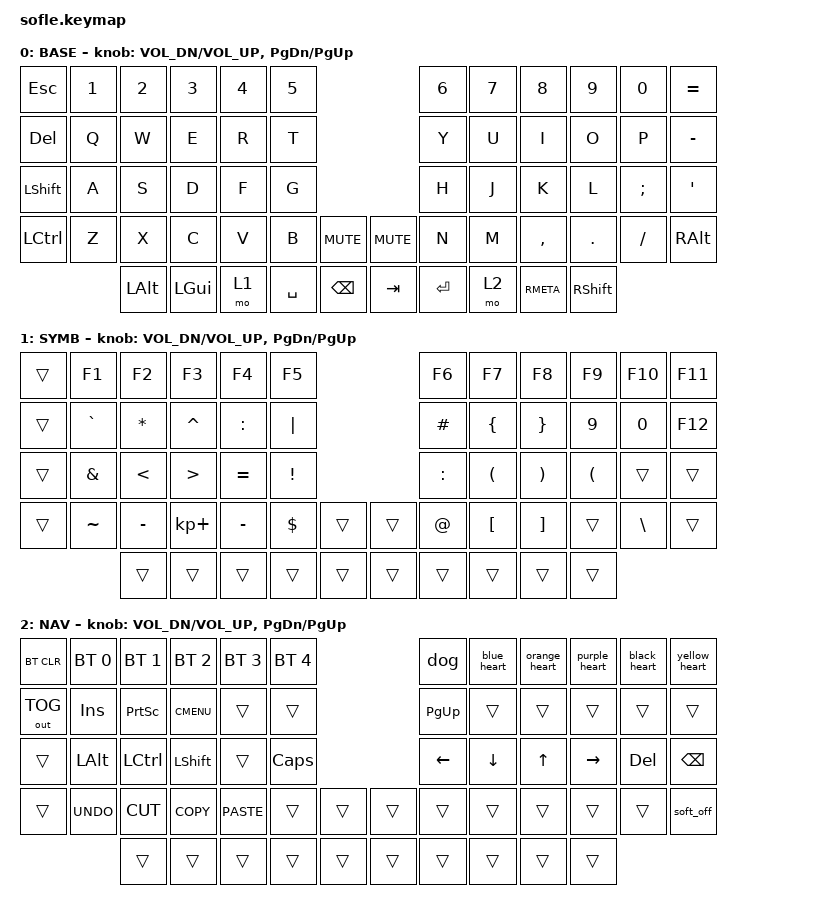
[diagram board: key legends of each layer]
/*
 * Copyright (c) 2020 The ZMK Contributors
 *
 * SPDX-License-Identifier: MIT
 */

#include <behaviors.dtsi>
#include <dt-bindings/zmk/bt.h>
#include <dt-bindings/zmk/keys.h>
#include <dt-bindings/zmk/outputs.h>

/ {
    macros {
        dog: dog {
            compatible = "zmk,behavior-macro";
            tap-ms = <20>;
            wait-ms = <20>;
            #binding-cells = <0>;
            bindings = <&macro_tap  &kp LC(LS(U)) &kp N1 &kp F &kp N4 &kp N3 &kp N6 &kp SPACE>;
            label = "dog";
        };

        orange_heart: orange_heart {
            compatible = "zmk,behavior-macro";
            tap-ms = <20>;
            wait-ms = <20>;
            #binding-cells = <0>;
            bindings = <&macro_tap  &kp LC(LS(U)) &kp N1 &kp F &kp N9 &kp E &kp N1 &kp SPACE >;
            label = "orange_heart";
        };

        black_heart: black_heart {
            compatible = "zmk,behavior-macro";
            tap-ms = <20>;
            wait-ms = <20>;
            #binding-cells = <0>;
            bindings = <&macro_tap  &kp LC(LS(U)) &kp N1 &kp F &kp N5 &kp A &kp N4 &kp SPACE >;
            label = "black_heart";
        };

        yellow_heart: yellow_heart {
            compatible = "zmk,behavior-macro";
            tap-ms = <20>;
            wait-ms = <20>;
            #binding-cells = <0>;
            bindings = <&macro_tap  &kp LC(LS(U)) &kp N1 &kp F &kp N4 &kp N9 &kp B &kp SPACE >;
            label = "yellow_heart";
        };

        purple_heart: purple_heart {
            compatible = "zmk,behavior-macro";
            wait-ms = <20>;
            tap-ms = <20>;
            #binding-cells = <0>;
            bindings = <&macro_tap  &kp LC(LS(U)) &kp N1 &kp F &kp N4 &kp N9 &kp C &kp SPACE >;
            label = "purple_heart";
        };

        blue_heart: blue_heart {
            compatible = "zmk,behavior-macro";
            tap-ms = <20>;
            wait-ms = <20>;
            #binding-cells = <0>;
            bindings = <&macro_tap &kp LC(LS(U)) &kp N1 &kp F &kp N4 &kp N9 &kp N9 &kp SPACE >;
            label = "blue_heart";
        };
    };

    keymap {
        compatible = "zmk,keymap";

        default_layer {
            display-name = "BASE";

            // ------------------------------------------------------------------------------------------------------------
            // |  `    |  1  |  2  |  3   |  4   |  5   |                   |  6   |  7    |  8    |  9   |   0   |       |
            // |  ESC  |  Q  |  W  |  E   |  R   |  T   |                   |  Y   |  U    |  I    |  O   |   P   | BKSPC |
            // |  TAB  |  A  |  S  |  D   |  F   |  G   |                   |  H   |  J    |  K    |  L   |   ;   |   '   |
            // | SHIFT |  Z  |  X  |  C   |  V   |  B   |  MUTE  |  |       |  N   |  M    |  ,    |  .   |   /   | SHIFT |
            //               | GUI | ALT  | CTRL | LOWER|  ENTER |  | SPACE | RAISE| CTRL  | ALT   | GUI  |

            bindings = <
&kp ESC           &kp N1  &kp N2    &kp N3        &kp N4  &kp N5                                  &kp N6     &kp N7  &kp N8     &kp N9         &kp N0    &kp EQUAL
&kp DEL           &kp Q   &kp W     &kp E         &kp R   &kp T                                   &kp Y      &kp U   &kp I      &kp O          &kp P     &kp MINUS
&kp LEFT_SHIFT    &kp A   &kp S     &kp D         &kp F   &kp G                                   &kp H      &kp J   &kp K      &kp L          &kp SEMI  &kp SQT
&kp LEFT_CONTROL  &kp Z   &kp X     &kp C         &kp V   &kp B      &kp C_MUTE       &kp C_MUTE  &kp N      &kp M   &kp COMMA  &kp DOT        &kp FSLH  &kp RIGHT_ALT
                          &kp LALT  &kp LEFT_GUI  &mo 1   &kp SPACE  &kp BACKSPACE    &kp TAB     &kp ENTER  &mo 2   &kp RMETA  &kp RSHIFT
            >;

            sensor-bindings = <&inc_dec_kp C_VOL_DN C_VOL_UP &inc_dec_kp PG_DN PG_UP>;
        };

        symbols {
            display-name = "SYMB";

            // ------------------------------------------------------------------------------------------------------------
            // | `     |  F1 |  F2 |  F3  |  F4  |  F5  |                   |  F6  |  F7   |  F8   |  F9  |  F10  |  F11  |
            // | RAISE |   1 |   2 |   3  |   4  |   5  |                   |   6  |   7   |   8   |   9  |    0  |  F12  |
            // |       |  !  |  @  |  #   |  $   |  %   |                   |  ^   |  &    |  *    |  (   |   )   |   |   |
            // |       |  =  |  -  |  +   |  {   |  }   |        |  |       |  [   |  ]    |  ;    |  :   |   \   |       |
            //               |     |      |      |      |        |  |       |      |       |       |      |

            bindings = <
&trans  &kp F1         &kp F2           &kp F3       &kp F4      &kp F5                        &kp F6       &kp F7                &kp F8                 &kp F9    &kp F10   &kp F11
&trans  &kp GRAVE      &kp ASTERISK     &kp CARET    &kp COLON   &kp PIPE                      &kp HASH     &kp LBRC        &kp RBRC        &kp N9    &kp N0    &kp F12
&trans  &kp AMPERSAND  &kp LT           &kp GT       &kp EQUAL   &kp EXCLAMATION               &kp COLON    &kp LPAR  &kp RPAR  &kp LPAR  &trans  &trans
&trans  &kp TILDE      &kp MINUS        &kp KP_PLUS  &kp MINUS   &kp DOLLAR  &trans    &trans  &kp AT_SIGN  &kp LBKT      &kp RBKT      &trans    &kp BSLH    &trans
                       &trans           &trans       &trans      &trans      &trans    &trans  &trans       &trans                &trans                 &trans
            >;

            sensor-bindings = <&inc_dec_kp C_VOL_DN C_VOL_UP &inc_dec_kp PG_DN PG_UP>;
        };

        Navigation {
            display-name = "NAV";

            // ------------------------------------------------------------------------------------------------------------
            // |BTCLR| BT1  | BT2  |  BT3  |  BT4  |  BT5 |                |      |      |       |      |       |       |
            // |BTTOG| INS  | PSCR | GUI   |       |      |                | PGUP |      |       |      |       |       |
            // |     | ALT  | CTRL | SHIFT |       | CAPS |                |  <-  |   v  |   ^   |  ->  |  DEL  | BKSPC |
            // |     | UNDO | CUT  | COPY  | PASTE |      |      |  |      |      |      |       |      |       |       |
            //              |      |       |       |      |      |  |      |      |      |       |      |

            bindings = <
&bt BT_CLR   &bt BT_SEL 0  &bt BT_SEL 1  &bt BT_SEL 2  &bt BT_SEL 3  &bt BT_SEL 4                    &dog     &blue_heart    &orange_heart  &purple_heart   &black_heart   &yellow_heart
&out OUT_TOG &kp INS       &kp PSCRN     &kp K_CMENU   &trans        &trans                          &kp PG_UP  &trans    &trans  &trans     &trans   &trans
&trans       &kp LALT      &kp LCTRL     &kp LSHFT     &trans        &kp CLCK                        &kp LEFT   &kp DOWN  &kp UP  &kp RIGHT  &kp DEL  &kp BSPC
&trans       &kp K_UNDO    &kp K_CUT     &kp K_COPY    &kp K_PASTE   &trans        &trans    &trans  &trans     &trans    &trans  &trans     &trans   &soft_off
                          &trans        &trans        &trans        &trans        &trans    &trans  &trans     &trans    &trans  &trans
            >;

            sensor-bindings = <&inc_dec_kp C_VOL_DN C_VOL_UP &inc_dec_kp PG_DN PG_UP>;
        };
    };
};
